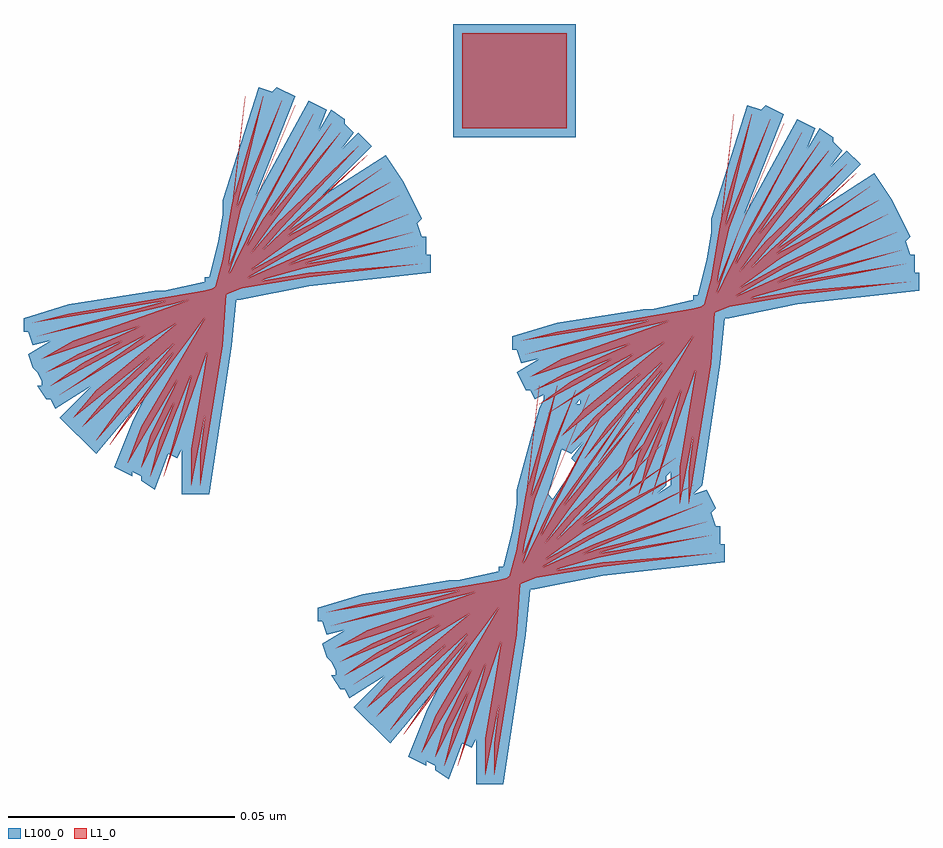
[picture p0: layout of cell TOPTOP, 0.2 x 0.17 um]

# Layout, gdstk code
import gdstk
lib = gdstk.Library(unit=1e-6, precision=1e-09)
def R(c, l, rs):  # rectangles x0, y0, x1, y1
    for r in rs: c.add(gdstk.rectangle(r[:2], r[2:], *l))
def P(c, l, *ps):  # polygons
    for p in ps: c.add(gdstk.Polygon(p, *l))
L1_0 = (1, 0)
L100_0 = (100, 0)

top = lib.new_cell('TOP')
P(top, L1_0, [(0.369,0.313),(0.376,0.317),(0.425,0.339),(0.449,0.348),(0.425,0.338),(0.398,0.325)],
  [(0.377,0.301),(0.382,0.307),(0.421,0.344),(0.44,0.361),(0.421,0.343),(0.4,0.322)],
  [(0.403,0.288),(0.403,0.295),(0.41,0.349),(0.413,0.374),(0.41,0.348),(0.408,0.319)],
  [(0.367,0.321),(0.374,0.323),(0.426,0.337),(0.451,0.341),(0.426,0.336),(0.397,0.328)],
  [(0.368,0.316),(0.375,0.32),(0.426,0.338),(0.45,0.344),(0.426,0.337),(0.398,0.326)],
  [(0.375,0.303),(0.38,0.309),(0.422,0.344),(0.443,0.358),(0.422,0.343),(0.4,0.323)],
  [(0.372,0.308),(0.378,0.312),(0.422,0.343),(0.445,0.355),(0.423,0.342),(0.398,0.324)],
  [(0.395,0.29),(0.397,0.297),(0.411,0.349),(0.421,0.373),(0.412,0.349),(0.405,0.319)],
  [(0.392,0.29),(0.394,0.298),(0.414,0.348),(0.424,0.372),(0.414,0.348),(0.404,0.32)],
  [(0.38,0.298),(0.385,0.305),(0.42,0.346),(0.438,0.363),(0.421,0.345),(0.401,0.322)],
  [(0.401,0.288),(0.401,0.296),(0.41,0.35),(0.417,0.374),(0.411,0.349),(0.407,0.319)],
  [(0.39,0.292),(0.392,0.299),(0.416,0.348),(0.428,0.37),(0.416,0.347),(0.404,0.32)],
  [(0.366,0.324),(0.374,0.326),(0.427,0.335),(0.452,0.337),(0.427,0.334),(0.397,0.329)],
  [(0.383,0.297),(0.387,0.303),(0.418,0.347),(0.434,0.366),(0.419,0.346),(0.401,0.321)],
  [(0.387,0.293),(0.39,0.301),(0.417,0.347),(0.432,0.368),(0.418,0.347),(0.403,0.32)],
  [(0.37,0.31),(0.377,0.315),(0.424,0.341),(0.447,0.352),(0.424,0.34),(0.398,0.325)])

toptop = lib.new_cell('TOPTOP')
R(toptop, L1_0, [(-0.13,0.371,-0.107,0.392)])
R(toptop, L100_0, [(-0.132,0.369,-0.105,0.394)])
P(toptop, L100_0, [(-0.192,0.29),(-0.192,0.3),(-0.193,0.298),(-0.195,0.299),(-0.198,0.291),(-0.201,0.293),(-0.201,0.294),(-0.203,0.295),(-0.203,0.294),(-0.207,0.296),(-0.203,0.306),(-0.2,0.312),(-0.211,0.299),(-0.219,0.307),(-0.212,0.314),(-0.22,0.309),(-0.221,0.311),(-0.222,0.311),(-0.224,0.314),(-0.223,0.314),(-0.223,0.315),(-0.224,0.317),(-0.225,0.318),(-0.226,0.321),(-0.221,0.324),(-0.225,0.323),(-0.226,0.326),(-0.227,0.326),(-0.227,0.329),(-0.217,0.332),(-0.198,0.335),(-0.196,0.335),(-0.187,0.337),(-0.187,0.338),(-0.186,0.338),(-0.184,0.346),(-0.183,0.352),(-0.183,0.355),(-0.175,0.38),(-0.172,0.379),(-0.171,0.38),(-0.167,0.378),(-0.176,0.355),(-0.164,0.377),(-0.16,0.375),(-0.162,0.37),(-0.159,0.375),(-0.156,0.373),(-0.156,0.372),(-0.154,0.37),(-0.157,0.366),(-0.153,0.37),(-0.15,0.367),(-0.161,0.356),(-0.147,0.365),(-0.143,0.359),(-0.139,0.351),(-0.14,0.35),(-0.139,0.347),(-0.138,0.347),(-0.138,0.343),(-0.137,0.343),(-0.137,0.339),(-0.164,0.336),(-0.179,0.333),(-0.18,0.333),(-0.181,0.323),(-0.186,0.29)],
  [(-0.127,0.226),(-0.127,0.236),(-0.128,0.234),(-0.13,0.235),(-0.133,0.227),(-0.136,0.229),(-0.136,0.23),(-0.138,0.231),(-0.138,0.23),(-0.142,0.232),(-0.138,0.242),(-0.135,0.248),(-0.146,0.235),(-0.154,0.243),(-0.147,0.25),(-0.155,0.245),(-0.156,0.247),(-0.157,0.247),(-0.159,0.25),(-0.158,0.25),(-0.158,0.251),(-0.159,0.253),(-0.16,0.254),(-0.161,0.257),(-0.156,0.26),(-0.16,0.259),(-0.161,0.262),(-0.162,0.262),(-0.162,0.265),(-0.152,0.268),(-0.133,0.271),(-0.131,0.271),(-0.122,0.273),(-0.122,0.274),(-0.121,0.274),(-0.119,0.282),(-0.118,0.288),(-0.118,0.291),(-0.115,0.302),(-0.103,0.302),(-0.106,0.299),(-0.108,0.3),(-0.111,0.29),(-0.11,0.289),(-0.106,0.295),(-0.084,0.295),(-0.085,0.294),(-0.085,0.292),(-0.087,0.29),(-0.084,0.292),(-0.084,0.295),(-0.106,0.295),(-0.105,0.297),(-0.106,0.298),(-0.103,0.302),(-0.115,0.302),(-0.113,0.309),(-0.092,0.309),(-0.091,0.308),(-0.091,0.309),(-0.113,0.309),(-0.112,0.311),(-0.104,0.311),(-0.105,0.31),(-0.104,0.31),(-0.104,0.311),(-0.112,0.311),(-0.112,0.312),(-0.114,0.311),(-0.115,0.313),(-0.116,0.313),(-0.118,0.317),(-0.113,0.32),(-0.117,0.319),(-0.118,0.322),(-0.119,0.322),(-0.119,0.325),(-0.109,0.328),(-0.09,0.331),(-0.088,0.331),(-0.079,0.333),(-0.079,0.334),(-0.078,0.334),(-0.076,0.342),(-0.075,0.348),(-0.075,0.351),(-0.067,0.376),(-0.064,0.375),(-0.063,0.376),(-0.059,0.374),(-0.068,0.351),(-0.056,0.373),(-0.052,0.371),(-0.054,0.366),(-0.051,0.371),(-0.048,0.369),(-0.048,0.368),(-0.046,0.366),(-0.049,0.362),(-0.045,0.366),(-0.042,0.363),(-0.053,0.352),(-0.039,0.361),(-0.035,0.355),(-0.031,0.347),(-0.032,0.346),(-0.031,0.343),(-0.03,0.343),(-0.03,0.339),(-0.029,0.339),(-0.029,0.335),(-0.056,0.332),(-0.071,0.329),(-0.072,0.329),(-0.073,0.319),(-0.077,0.292),(-0.079,0.29),(-0.076,0.291),(-0.074,0.287),(-0.075,0.286),(-0.074,0.283),(-0.073,0.283),(-0.073,0.279),(-0.072,0.279),(-0.072,0.275),(-0.099,0.272),(-0.114,0.269),(-0.115,0.269),(-0.116,0.259),(-0.121,0.226)])
toptop.add(gdstk.Reference(top, (-0.526,-0.06)))
toptop.add(gdstk.Reference(top, (-0.483,0)))
toptop.add(gdstk.Reference(top, (-0.591,0.004)))

lib.write_gds('TOPTOP.gds')
